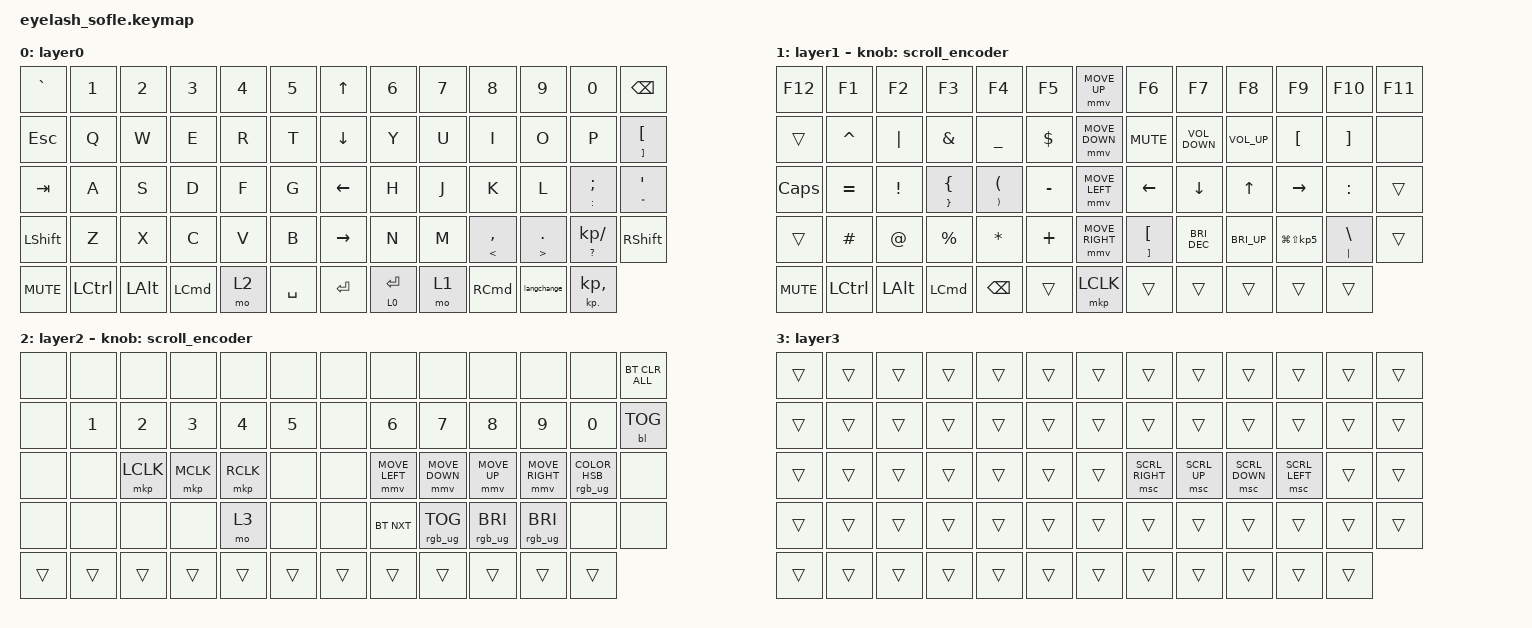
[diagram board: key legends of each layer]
#define ZMK_POINTING_DEFAULT_MOVE_VAL 1200  // 600
#define ZMK_POINTING_DEFAULT_SCRL_VAL 25   // 10

#include <input/processors.dtsi>
#include <zephyr/dt-bindings/input/input-event-codes.h>
#include <behaviors.dtsi>
#include <dt-bindings/zmk/backlight.h>
#include <dt-bindings/zmk/bt.h>
#include <dt-bindings/zmk/keys.h>
#include <dt-bindings/zmk/pointing.h>
#include <dt-bindings/zmk/rgb.h>

&mmv_input_listener { input-processors = <&zip_xy_scaler 2 1>; };

&msc_input_listener { input-processors = <&zip_scroll_scaler 2 1>; };

&msc {
    acceleration-exponent = <1>;      // 0
    time-to-max-speed-ms = <100>;       // 300
    delay-ms = <0>;                   // 0
};

&mmv {
    time-to-max-speed-ms = <500>;
    acceleration-exponent = <1>;
    trigger-period-ms = <16>;
};

&mt {
    flavor = "tap-preferred";
    quick-tap-ms = <150>;
    require-prior-idle-ms = <125>;
};

&lt {
    flavor = "tap-preferred";
    quick-tap-ms = <150>;
    require-prior-idle-ms = <125>;
};

/ {
    macros {
        win_choose: win_choose {
            compatible = "zmk,behavior-macro";
            wait-ms = <0>;
            tap-ms = <0>;
            #binding-cells = <0>;
            bindings =
                <&macro_press>,
                <&mo 2 &kp LGUI>,
                <&macro_pause_for_release>,
                <&macro_release>,
                <&mo 2 &kp LGUI>;
        };

        blocks: blocks {
            compatible = "zmk,behavior-macro";
            wait-ms = <0>;
            tap-ms = <0>;
            #binding-cells = <0>;
            bindings =
                <&macro_press>,
                <&kp LCTRL &kp LEFT_ALT>,
                <&macro_tap>,
                <&kp END>,
                <&macro_wait_time 1000>,
                <&macro_tap>,
                <&kp ENTER>,
                <&macro_release>,
                <&kp LCTRL &kp LEFT_ALT>;
        };

        plappr: plappr {
            compatible = "zmk,behavior-macro";
            wait-ms = <30>;
            tap-ms = <20>;
            #binding-cells = <0>;
            bindings =
                <&macro_tap>,
                <&kp P &kp L &kp E &kp A &kp S &kp E &kp SPACE &kp A &kp P &kp P &kp R &kp O &kp V &kp E &kp SPACE>,
                <&macro_tap>,
                <&kp LC(V)>,
                <&macro_wait_time 30>,
                <&macro_tap>,
                <&kp ENTER>;
        };

        sprlab: sprlab {
            compatible = "zmk,behavior-macro";
            wait-ms = <30>;
            tap-ms = <20>;
            #binding-cells = <0>;
            bindings =
                <&macro_tap>,
                <&kp S &kp P &kp R &kp I &kp N &kp G &kp DOT &kp C &kp L &kp O &kp U &kp D &kp DOT &kp C &kp O &kp N &kp F &kp I &kp G &kp DOT &kp L &kp A &kp B &kp E &kp L &kp EQUAL>;
        };

        tildsl: tildsl {
            compatible = "zmk,behavior-macro";
            wait-ms = <30>;
            tap-ms = <30>;
            #binding-cells = <0>;
            bindings = <&macro_tap>, <&kp TILDE &kp FSLH>;
        };

        ru_coma: ru_coma {
            compatible = "zmk,behavior-macro";
            #binding-cells = <0>;
            bindings = <&kp LC(SPACE)>;
            label = "RU_COMA";
        };

        langchange: langchange {
            compatible = "zmk,behavior-macro";
            #binding-cells = <0>;
            bindings = <&kp LC(SPACE)>;
            label = "LANGCHANGE";
        };

        middle_mous_plus_layer: middle_mous_plus_layer {
            compatible = "zmk,behavior-macro";
            #binding-cells = <0>;
            bindings =
                <&macro_press>,
                <&mo 0>,
                <&macro_release>,
                <&macro_press>;

            label = "MIDDLE_MOUS_PLUS_LAYER";
        };
    };

    behaviors {
        mtwc: mtwc {
            compatible = "zmk,behavior-hold-tap";
            #binding-cells = <2>;
            tapping-term-ms = <200>;
            flavor = "tap-preferred";
            quick-tap-ms = <150>;
            require-prior-idle-ms = <125>;
            bindings = <&win_choose>, <&kp>;
        };

        se: shiftenter {
            compatible = "zmk,behavior-hold-tap";
            #binding-cells = <2>;
            tapping-term-ms = <100>;
            flavor = "hold-preferred";
            quick-tap-ms = <150>;
            bindings = <&kp>, <&kp>;
        };

        td0: tap_dance_0 {
            compatible = "zmk,behavior-tap-dance";
            #binding-cells = <0>;
            tapping-term-ms = <200>;
            bindings = <&kp LG(M)>, <&blocks>, <&plappr>;
        };

        layer3enter: layer3enter {
            compatible = "zmk,behavior-hold-tap";
            label = "LAYER3ENTER";
            bindings = <&mo>, <&kp>;

            #binding-cells = <2>;
            tapping-term-ms = <350>;
            flavor = "balanced";
        };
    };

    scroll_encoder: scroll_encoder {
        compatible = "zmk,behavior-sensor-rotate";
        #sensor-binding-cells = <0>;
        bindings = <&msc SCRL_DOWN>, <&msc SCRL_UP>;

        tap-ms = <100>;
    };

    keymap {
        compatible = "zmk,keymap";

        layer0 {
            bindings = <
&kp GRAVE   &kp N1            &kp N2    &kp N3    &kp N4  &kp N5       &kp UP_ARROW     &kp N6                &kp N7  &kp N8        &kp N9       &kp N0                  &kp BSPC
&kp ESCAPE  &kp Q             &kp W     &kp E     &kp R   &kp T        &kp DOWN_ARROW   &kp Y                 &kp U   &kp I         &kp O        &kp P                   &mt RBKT LBKT
&kp TAB     &kp A             &kp S     &kp D     &kp F   &kp G        &kp LEFT_ARROW   &kp H                 &kp J   &kp K         &kp L        &mt COLON SEMI          &mt DQT APOS
&kp LSHFT   &kp Z             &kp X     &kp C     &kp V   &kp B        &kp RIGHT_ARROW  &kp N                 &kp M   &mt LT COMMA  &mt GT DOT   &mt QUESTION KP_DIVIDE  &kp RSHFT
&kp C_MUTE  &kp LEFT_CONTROL  &kp LALT  &kp LCMD  &mo 2   &kp SPACE    &kp ENTER        &layer3enter 0 ENTER  &mo 1   &kp RCMD      &langchange  &mt KP_DOT KP_COMMA
            >;

            display-name = "layer0";
        };

        layer1 {
            bindings = <
&kp F12     &kp F1     &kp F2        &kp F3         &kp F4         &kp F5       &mmv MOVE_UP     &kp F6                          &kp F7             &kp F8           &kp F9                   &kp F10             &kp F11
&trans      &kp CARET  &kp PIPE      &kp AMPS       &kp UNDER      &kp DLLR     &mmv MOVE_DOWN   &kp K_MUTE                      &kp C_VOLUME_DOWN  &kp C_VOLUME_UP  &kp LEFT_BRACKET         &kp RIGHT_BRACKET   &none
&kp CAPS    &kp EQUAL  &kp EXCL      &mt RBRC LBRC  &mt RPAR LPAR  &kp MINUS    &mmv MOVE_LEFT   &kp LEFT                        &kp DOWN           &kp UP           &kp RIGHT                &kp COLON           &trans
&trans      &kp HASH   &kp AT        &kp PRCNT      &kp STAR       &kp PLUS     &mmv MOVE_RIGHT  &mt RIGHT_BRACKET LEFT_BRACKET  &kp C_BRI_DEC      &kp C_BRI_UP     &kp LG(LS(KP_NUMBER_5))  &mt PIPE BACKSLASH  &trans
&kp C_MUTE  &kp LCTRL  &kp LEFT_ALT  &kp LCMD       &kp BACKSPACE  &trans       &mkp LCLK        &trans                          &trans             &trans           &trans                   &trans
            >;

            display-name = "layer1";
            sensor-bindings = <&scroll_encoder>;
        };

        layer2 {
            bindings = <
&none   &none   &none      &none      &none      &none     &none   &none           &none            &none            &none            &none                           &bt BT_CLR_ALL
&none   &kp N1  &kp N2     &kp N3     &kp N4     &kp N5    &none   &kp N6          &kp N7           &kp N8           &kp N9           &kp N0                          &bl BL_TOG
&none   &none   &mkp LCLK  &mkp MCLK  &mkp RCLK  &none     &none   &mmv MOVE_LEFT  &mmv MOVE_DOWN   &mmv MOVE_UP     &mmv MOVE_RIGHT  &rgb_ug RGB_COLOR_HSB(0,0,100)  &none
&none   &none   &none      &none      &mo 3      &none     &none   &bt BT_NXT      &rgb_ug RGB_TOG  &rgb_ug RGB_BRI  &rgb_ug RGB_BRI  &none                           &none
&trans  &trans  &trans     &trans     &trans     &trans    &trans  &trans          &trans           &trans           &trans           &trans
            >;

            sensor-bindings = <&scroll_encoder>;
        };

        layer3 {
            bindings = <
&trans  &trans  &trans  &trans  &trans  &trans    &trans  &trans           &trans        &trans          &trans          &trans  &trans
&trans  &trans  &trans  &trans  &trans  &trans    &trans  &trans           &trans        &trans          &trans          &trans  &trans
&trans  &trans  &trans  &trans  &trans  &trans    &trans  &msc SCRL_RIGHT  &msc SCRL_UP  &msc SCRL_DOWN  &msc SCRL_LEFT  &trans  &trans
&trans  &trans  &trans  &trans  &trans  &trans    &trans  &trans           &trans        &trans          &trans          &trans  &trans
&trans  &trans  &trans  &trans  &trans  &trans    &trans  &trans           &trans        &trans          &trans          &trans
            >;
        };
    };
};
